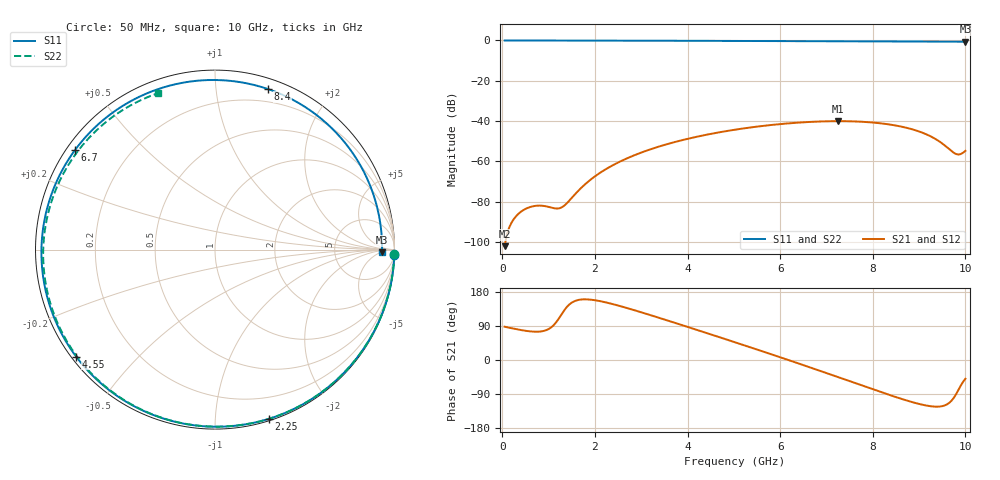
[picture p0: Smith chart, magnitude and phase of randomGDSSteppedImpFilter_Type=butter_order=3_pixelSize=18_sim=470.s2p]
! freq	dB(S11)	phase(S11)	dB(S12)	phase(S12)
!  dB(S21)	phase(S21)	dB(S22)	phase(S22)
!S-par simulation data
#  GHz  S  DB  R 50
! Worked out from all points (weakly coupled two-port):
!   200 points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, 50 MHz to 10 GHz, reference 50 ohm
!   highest |S21| = -40.09 dB at 7.25 GHz (marker M1); lowest = -102.2 dB at 50 MHz (marker M2)
!   lowest |S11| = -0.6 dB at 10 GHz (marker M3), VSWR 27.70, Z = 1.33e+03 - j279 ohm
!   |S11| at or under -10 dB: nowhere
!   |S22| runs from -0.7 to 0.0 dB; largest |S21 - S12| = 0
!   S11 on the Smith chart (normalised r, x): 50 MHz: 2, -68; 2.25 GHz: 0.02, -1.37; 4.55 GHz: 0.01, -0.34; 6.7 GHz: 0.02, +0.32; 8.4 GHz: 0.09, +1.38; 10 GHz: 27, -6
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0.05  -0.01 -1.7  -102.18 87.9  -102.18 87.9  -0.00 -1.4
0.7  -0.03 -23.0  -82.21 74.7  -82.21 74.7  -0.02 -18.6
1.4  -0.06 -45.6  -80.72 140.7  -80.72 140.7  -0.05 -36.9
1.75  -0.07 -56.7  -72.22 160.1  -72.22 160.1  -0.06 -45.9
2.25  -0.09 -72.3  -63.75 151.6  -63.75 151.6  -0.07 -58.4
2.8  -0.11 -89.2  -57.50 133.3  -57.50 133.3  -0.09 -71.9
3.4  -0.14 -107.4  -52.59 110.8  -52.59 110.8  -0.11 -86.2
3.95  -0.17 -124.0  -49.15 89.4  -49.15 89.4  -0.13 -99.0
4.55  -0.20 -142.3  -46.20 65.7  -46.20 65.7  -0.16 -112.6
5.05  -0.24 -158.0  -44.24 45.8  -44.24 45.8  -0.19 -123.8
5.9  -0.31 173.8  -41.77 11.4  -41.77 11.4  -0.24 -142.8
6.7  -0.38 144.7  -40.41 -21.8  -40.41 -21.8  -0.31 -160.9
7.25  -0.43 122.7  -40.09 -45.1  -40.09 -45.1  -0.36 -173.8
7.8  -0.48 99.1  -40.43 -68.7  -40.43 -68.7  -0.41 172.8
8.35  -0.52 74.1  -41.70 -91.8  -41.70 -91.8  -0.47 158.6
8.4  -0.52 71.8  -41.88 -93.9  -41.88 -93.9  -0.48 157.3
8.8  -0.54 53.2  -43.80 -109.3  -43.80 -109.3  -0.52 146.4
9.2  -0.57 34.6  -47.08 -121.1  -47.08 -121.1  -0.57 134.9
9.45  -0.58 23.2  -50.34 -122.7  -50.34 -122.7  -0.60 127.4
9.8  -0.61 7.7  -56.44 -90.0  -56.44 -90.0  -0.63 116.5
9.9  -0.62 3.4  -56.42 -67.7  -56.42 -67.7  -0.65 113.3
10  -0.63 -0.9  -54.84 -49.6  -54.84 -49.6  -0.66 110.1
